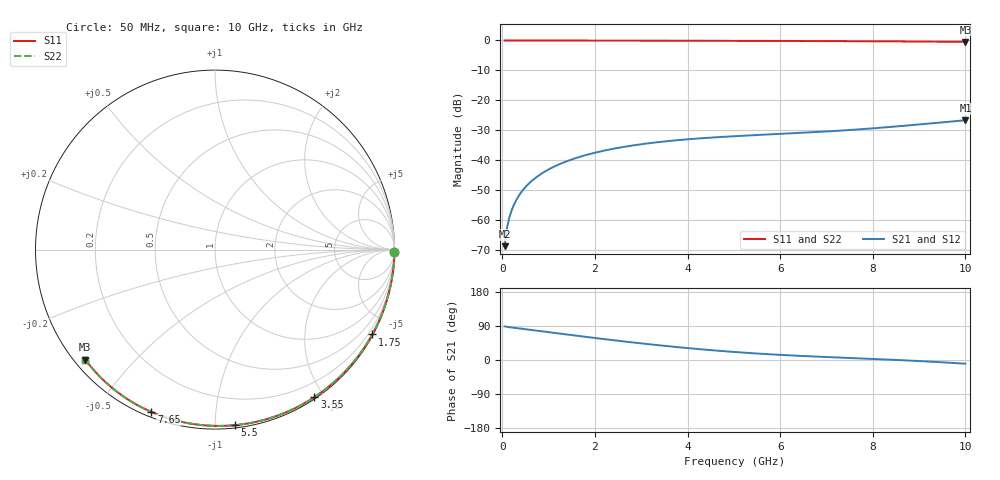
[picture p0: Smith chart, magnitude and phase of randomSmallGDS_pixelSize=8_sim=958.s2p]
! freq	dB(S11)	phase(S11)	dB(S12)	phase(S12)
!  dB(S21)	phase(S21)	dB(S22)	phase(S22)
!S-par simulation data
#  GHz  S  DB  R 50
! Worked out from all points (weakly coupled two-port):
!   200 points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, 50 MHz to 10 GHz, reference 50 ohm
!   highest |S21| = -26.63 dB at 10 GHz (marker M1); lowest = -68.7 dB at 50 MHz (marker M2)
!   lowest |S11| = -0.5 dB at 10 GHz (marker M3), VSWR 37.31, Z = 1.52 - j18.3 ohm
!   |S11| at or under -10 dB: nowhere
!   |S22| runs from -0.5 to 0.0 dB; largest |S21 - S12| = 0
!   S11 on the Smith chart (normalised r, x): 50 MHz: open; 1.75 GHz: 0.03, -3.96; 3.55 GHz: 0.02, -1.88; 5.5 GHz: 0.02, -1.12; 7.65 GHz: 0.02, -0.68; 10 GHz: 0.03, -0.37
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0.05  -0.00 -0.8  -68.65 88.6  -68.65 88.6  -0.00 -0.8
0.1  -0.00 -1.7  -62.69 87.5  -62.69 87.5  -0.00 -1.7
0.15  -0.00 -2.5  -59.22 86.6  -59.22 86.6  -0.00 -2.5
0.2  -0.00 -3.3  -56.77 85.8  -56.77 85.8  -0.00 -3.3
0.25  -0.00 -4.1  -54.86 85.0  -54.86 85.0  -0.00 -4.1
0.35  -0.00 -5.8  -51.98 83.5  -51.98 83.5  -0.00 -5.8
0.5  -0.01 -8.2  -48.93 81.3  -48.93 81.3  -0.01 -8.2
0.7  -0.01 -11.5  -46.06 78.2  -46.06 78.2  -0.01 -11.5
1  -0.02 -16.3  -43.04 73.5  -43.04 73.5  -0.02 -16.3
1.35  -0.03 -22.0  -40.56 68.0  -40.56 68.0  -0.03 -22.0
1.75  -0.04 -28.3  -38.49 61.8  -38.49 61.8  -0.04 -28.3
2.5  -0.05 -40.1  -35.85 50.8  -35.85 50.8  -0.05 -40.1
3.4  -0.07 -53.8  -33.87 38.6  -33.87 38.6  -0.07 -53.8
3.55  -0.08 -56.0  -33.63 36.8  -33.63 36.8  -0.08 -56.0
4.3  -0.10 -66.9  -32.64 28.1  -32.64 28.1  -0.10 -66.9
5.05  -0.12 -77.5  -31.92 20.8  -31.92 20.8  -0.12 -77.5
5.5  -0.14 -83.6  -31.57 17.1  -31.57 17.1  -0.14 -83.6
6.7  -0.19 -99.4  -30.64 9.4  -30.64 9.4  -0.19 -99.4
7.65  -0.25 -111.4  -29.73 4.6  -29.73 4.6  -0.25 -111.4
8.35  -0.30 -120.0  -28.90 1.0  -28.90 1.0  -0.30 -120.0
9.2  -0.38 -130.2  -27.76 -4.1  -27.76 -4.1  -0.38 -130.2
10  -0.47 -139.7  -26.63 -9.7  -26.63 -9.7  -0.47 -139.8
